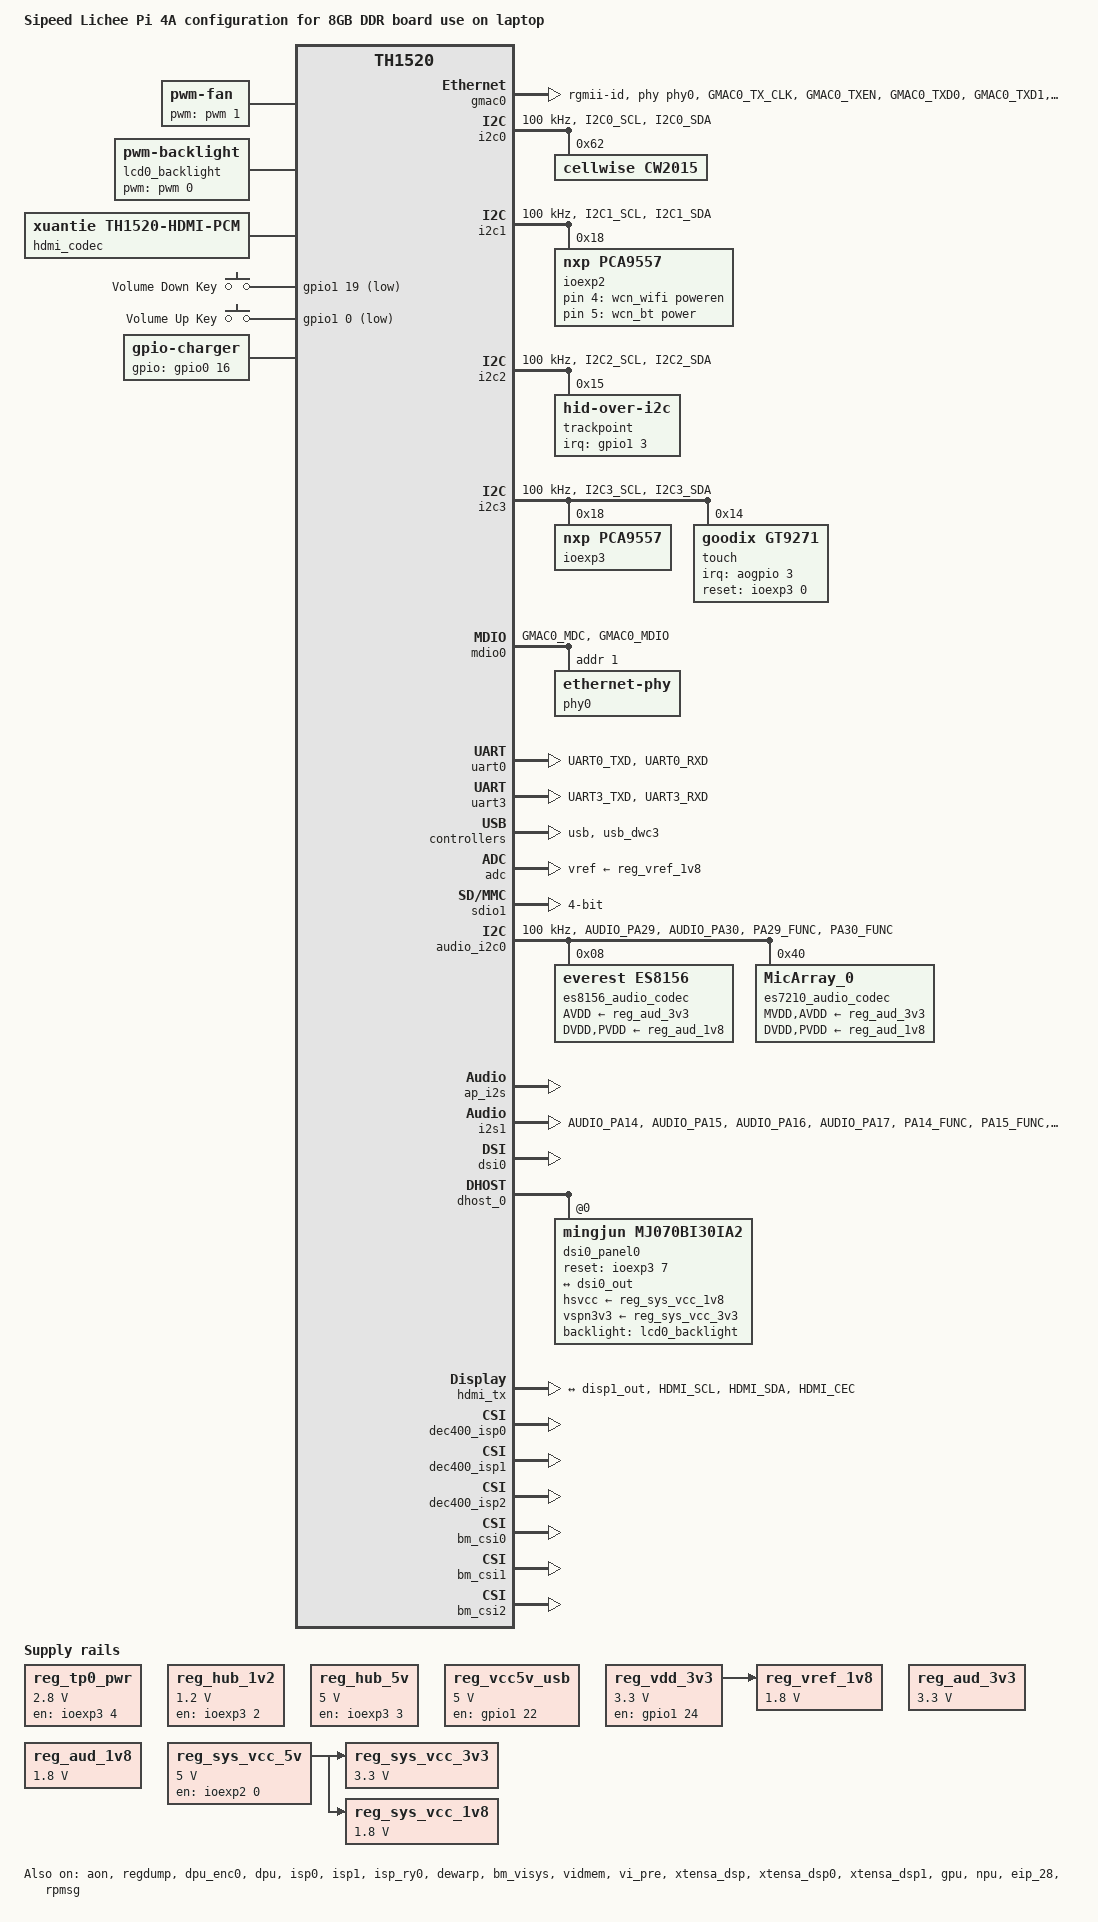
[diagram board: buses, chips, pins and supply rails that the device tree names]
/* SPDX-License-Identifier: (GPL-2.0 OR MIT) */

/dts-v1/;

#include "th1520-lichee-module-4a.dtsi"
#include <dt-bindings/input/linux-event-codes.h>
#include <dt-bindings/gpio/gpio.h>
#include <dt-bindings/interrupt-controller/irq.h>

/ {
	model = "Sipeed Lichee Pi 4A configuration for 8GB DDR board use on laptop";
	compatible = "sipeed,lichee-pi-4a", "sipeed,lichee-module-4a", "thead,th1520";

	chosen {
		stdout-path = "serial0:115200n8";
	};

	fan: pwm-fan {
		pinctrl-names = "default";
		pinctrl-0 = <&fan_pins>;
		compatible = "pwm-fan";
		#cooling-cells = <2>;
		pwms = <&pwm 1 10000000 0>;
		// cooling-levels = <0 66 196 255>;
		cooling-levels = <255 255 255 255>;
	};

	lcd0_backlight: pwm-backlight@0 {
		compatible = "pwm-backlight";
		pwms = <&pwm 0 50000 0>;
		brightness-levels = <0 1 2 3 4 5 6 7 8 9 10 11 12 13 14 15 16 17 18 19 20 21 22 23 24 25 26 27 28 29 30 31 32 33 34 35
        	36 37 38 39 40 41 42 43 44 45 46 47 48 49 50 51 52 53 54 55 56 57 58 59 60 61 62 63 64 65 66 67 68 69 70 71 72 73 74 75
        	76 77 78 79 80 81 82 83 84 85 86 87 88 89 90 91 92 93 94 95 96 97 98 99 100>;
		default-brightness-level = <50>;
	};

	th1520_iopmp: iopmp {
		compatible = "xuantie,th1520-iopmp";

		/* config#1: multiple valid regions */
		iopmp_emmc: IOPMP_EMMC {
			attr = <0xFFFFFFFF>;
			is_default_region;
		};

		/* config#2: iopmp bypass */
		iopmp_sdio0: IOPMP_SDIO0 {
			bypass_en;
		};

		/* config#3: iopmp default region set */
		iopmp_sdio1: IOPMP_SDIO1 {
			attr = <0xFFFFFFFF>;
			is_default_region;
		};

		iopmp_usb0: IOPMP_USB0 {
			attr = <0xFFFFFFFF>;
			is_default_region;
		};

		iopmp_ao: IOPMP_AO {
			is_default_region;
		};

		iopmp_aud: IOPMP_AUD {
			is_default_region;
		};

		iopmp_chip_dbg: IOPMP_CHIP_DBG {
			is_default_region;
		};

		iopmp_eip120i: IOPMP_EIP120I {
			is_default_region;
		};

		iopmp_eip120ii: IOPMP_EIP120II {
			is_default_region;
		};

		iopmp_eip120iii: IOPMP_EIP120III {
			is_default_region;
		};

		iopmp_isp0: IOPMP_ISP0 {
			is_default_region;
		};

		iopmp_isp1: IOPMP_ISP1 {
			is_default_region;
		};

		iopmp_dw200: IOPMP_DW200 {
			is_default_region;
		};

		iopmp_vipre: IOPMP_VIPRE {
			is_default_region;
		};

		iopmp_venc: IOPMP_VENC {
			is_default_region;
		};

		iopmp_vdec: IOPMP_VDEC {
			is_default_region;
		};

		iopmp_g2d: IOPMP_G2D {
			is_default_region;
		};

		iopmp_fce: IOPMP_FCE {
			is_default_region;
		};

		iopmp_npu: IOPMP_NPU {
			is_default_region;
		};

		iopmp0_dpu: IOPMP0_DPU {
			bypass_en;
		};

		iopmp1_dpu: IOPMP1_DPU {
			bypass_en;
		};

		iopmp_gpu: IOPMP_GPU {
			is_default_region;
		};

		iopmp_gmac1: IOPMP_GMAC1 {
			is_default_region;
		};

		iopmp_gmac2: IOPMP_GMAC2 {
			is_default_region;
		};

		iopmp_dmac: IOPMP_DMAC {
			is_default_region;
		};

		iopmp_tee_dmac: IOPMP_TEE_DMAC {
			is_default_region;
		};

		iopmp_dsp0: IOPMP_DSP0 {
			is_default_region;
		};

		iopmp_dsp1: IOPMP_DSP1 {
			is_default_region;
		};

		iopmp_audio0: IOPMP_AUDIO0 {
			is_default_region;
		};

		iopmp_audio1: IOPMP_AUDIO1 {
			is_default_region;
		};
	};

	reg_tp0_pwr: regulator-tp0-pwr {
		compatible = "regulator-fixed";
		regulator-name = "tp0-pwr";
		regulator-min-microvolt = <2800000>;
		regulator-max-microvolt = <2800000>;
		gpio = <&ioexp3 4 GPIO_ACTIVE_HIGH>;
		enable-active-high;
		regulator-always-on;
	};

	reg_hub_1v2: regulator-hub-1v2 {
		compatible = "regulator-fixed";
		regulator-name = "HUB_1V2";
		regulator-min-microvolt = <1200000>;
		regulator-max-microvolt = <1200000>;
		gpio = <&ioexp3 2 GPIO_ACTIVE_HIGH>;
		enable-active-high;
		regulator-always-on;
	};

	reg_hub_5v: regulator-hub-5v {
		compatible = "regulator-fixed";
		regulator-name = "HUB_5V";
		regulator-min-microvolt = <5000000>;
		regulator-max-microvolt = <5000000>;
		gpio = <&ioexp3 3 GPIO_ACTIVE_HIGH>;
		enable-active-high;
		regulator-always-on;
	};

	reg_vcc5v_usb: regulator-vcc5v-usb {
		compatible = "regulator-fixed";
		regulator-name = "VCC5V_USB";
		regulator-min-microvolt = <5000000>;
		regulator-max-microvolt = <5000000>;
		gpio = <&gpio1 22 GPIO_ACTIVE_HIGH>;
		enable-active-high;
		regulator-always-on;
	};

	// reg_vdd33_lcd0: regulator-vdd33-lcd0 {
	// 	compatible = "regulator-fixed";
	// 	regulator-name = "lcd0_vdd33";
	// 	regulator-min-microvolt = <3300000>;
	// 	regulator-max-microvolt = <3300000>;
	// 	gpio = <&ioexp3 5 GPIO_ACTIVE_HIGH>;
	// 	enable-active-high;
	// };

	// reg_vdd18_lcd0: regulator-vdd18-lcd0 {
	// 	compatible = "regulator-fixed";
	// 	regulator-name = "lcd0_vdd18";
	// 	regulator-min-microvolt = <1800000>;
	// 	regulator-max-microvolt = <1800000>;
	// 	gpio = <&ioexp3 6 GPIO_ACTIVE_HIGH>;
	// 	enable-active-high;
	// };

	reg_vdd_3v3: regulator-vdd-3v3 {
		compatible = "regulator-fixed";
		regulator-name = "vdd_3v3";
		regulator-min-microvolt = <3300000>;
		regulator-max-microvolt = <3300000>;
		gpio = <&gpio1 24 GPIO_ACTIVE_HIGH>;
		enable-active-high;
		regulator-boot-on;
		regulator-always-on;
	};

	reg_vref_1v8: regulator-adc-verf {
		compatible = "regulator-fixed";
		regulator-name = "vref-1v8";
		regulator-min-microvolt = <1800000>;
		regulator-max-microvolt = <1800000>;
		regulator-alaways-on;
		vin-supply = <&reg_vdd_3v3>;
	};

	reg_aud_3v3: regulator-aud-3v3 {
		compatible = "regulator-fixed";
		regulator-name = "aud_3v3";
		regulator-min-microvolt = <3300000>;
		regulator-max-microvolt = <3300000>;
		enable-active-high;
		regulator-always-on;
	};

	reg_aud_1v8: regulator-aud-1v8 {
		compatible = "regulator-fixed";
		regulator-name = "aud_1v8";
		regulator-min-microvolt = <1800000>;
		regulator-max-microvolt = <1800000>;
		enable-active-high;
		regulator-always-on;
	};

	// ===================

	reg_sys_vcc_5v: regulator-sys-vcc-5v-en {
		// status = "okay";
		compatible = "regulator-fixed";
		regulator-name = "regulator-sys-vcc-5v-en";
		regulator-min-microvolt = <5000000>;
		regulator-max-microvolt = <5000000>;
		gpio = <&ioexp2 0 GPIO_ACTIVE_HIGH>;
		enable-active-high;
		regulator-boot-on;
		regulator-always-on;

		regulator-state-mem {
			regulator-off-in-suspend;
		};
		regulator-state-standby {
			regulator-off-in-suspend;
		};
	};

	reg_sys_vcc_3v3: regulator-sys-vcc-3v3-en {
		status = "okay";
		compatible = "regulator-fixed";
		regulator-name = "regulator-sys-vcc-3v3-en";
		vin-supply = <&reg_sys_vcc_5v>;
		regulator-min-microvolt = <3300000>;
		regulator-max-microvolt = <3300000>;
		enable-active-high;
		regulator-boot-on;
		regulator-always-on;
	};

	reg_sys_vcc_1v8: regulator-sys-vcc-1v8-en {
		status = "okay";
		compatible = "regulator-fixed";
		regulator-name = "regulator-sys-vcc-1v8-en";
		vin-supply = <&reg_sys_vcc_5v>;
		regulator-min-microvolt = <1800000>;
		regulator-max-microvolt = <1800000>;
		enable-active-high;
		regulator-boot-on;
		regulator-always-on;
	};

	// reg_usb_vcc_5v: regulator-usb-vcc-5v-en {
	// 	status = "okay";
	// 	compatible = "regulator-fixed";
	// 	regulator-name = "regulator-usb-vcc-5v-en";
	// 	regulator-min-microvolt = <5000000>;
	// 	regulator-max-microvolt = <5000000>;
	// 	vin-supply = <&reg_sys_vcc_5v>;
	// 	gpio = <&ioexp3 3 1>;
	// 	enable-active-high;
	// 	regulator-always-on;
    //     };

	// reg_sata_vcc_5v: regulator-sata-vcc-5v-en {
	// 	status = "okay";
	// 	compatible = "regulator-fixed";
	// 	regulator-name = "regulator-sata-vcc-5v-en";
	// 	regulator-min-microvolt = <5000000>;
	// 	regulator-max-microvolt = <5000000>;
	// 	vin-supply = <&reg_sys_vcc_5v>;
	// 	gpio = <&ioexp3 3 1>;
	// 	enable-active-high;
	// 	regulator-always-on;
	// };

	// audio_amp: regulator-audio-amp-en {
    //     status = "okay";
    //     compatible = "regulator-fixed";
    //     regulator-name = "regulator-audio-amp-en";
    //     vin-supply = <&reg_sys_vcc_5v>;
	// 	gpio = <&ioexp2 3 GPIO_ACTIVE_HIGH>;
	// 	enable-active-high;
	// 	regulator-always-on;
	// };

	// ===================
	mbox_910t_client2: mbox_910t_client2 {
		compatible = "xuantie,th1520-mbox-client";
		mbox-names = "906";
		mboxes = <&mbox_910t 2 0>;
		audio-mbox-regmap = <&audio_mbox>;
		status = "okay";
	};

	th1520_rpmsg: th1520_rpmsg {
		compatible = "th1520,rpmsg-bus", "simple-bus";
		memory-region = <&rpmsgmem>;
		#address-cells = <2>;
		#size-cells = <2>;
		ranges;
		rpmsg: rpmsg{
			vdev-nums = <1>;
            reg = <0x0 0x1E000000 0 0x10000>;
			compatible = "th1520,th1520-rpmsg";
			log-memory-region = <&audio_log_mem>;
			audio-text-memory-region = <&audio_text_mem>;
			status = "okay";
		};
	};

	hdmi_codec: hdmi_codec@1 {
		#sound-dai-cells = <0>;
		compatible = "xuantie,th1520-hdmi-pcm";
		status = "okay";
		sound-name-prefix = "DUMMY";
	};

	th1520_sound: soundcard@1 {
		compatible = "simple-audio-card";
		simple-audio-card,name = "TH1520-Sound-Card";
		#address-cells = <1>;
		#size-cells = <0>;

		simple-audio-card,dai-link@0 {
			reg = <0>;
			format = "i2s";
			cpu {
				sound-dai = <&ap_i2s 1>;
			};
			codec {
				sound-dai = <&hdmi_codec>;
			};
		};
		simple-audio-card,dai-link@1 {
			reg = <1>;
			format = "i2s";
			cpu {
				sound-dai = <&i2s1 0>;
			};
			codec {
				sound-dai = <&es7210_audio_codec>;
			};
		};
		simple-audio-card,dai-link@2 {
			reg = <2>;
			format = "i2s";
			cpu {
				sound-dai = <&i2s1 0>;
			};
			codec {
				sound-dai = <&es8156_audio_codec>;
			};
		};
	};

	wcn_wifi: wireless-wlan {
		compatible = "wlan-platdata";
		pinctrl-names = "default";
		pinctrl-0 = <&pinctrl_wifi_wake>;
		WIFI,poweren-gpios = <&ioexp2 4 0>;
		power_on_after_init;
		power_on_when_resume;
		status = "okay";
	};

	wcn_bt: wireless-bluetooth {
		compatible = "bluetooth-platdata";
		pinctrl-names = "default";
		pinctrl-0 = <&pinctrl_bt_wake>;
		BT,power-gpios    = <&ioexp2 5 0>;
		status = "okay";
	};

	gpio-keys {
		compatible = "gpio-keys";
		key-volumedown {
			label = "Volume Down Key";
			linux,code = <KEY_VOLUMEDOWN>;
			debounce-interval = <1>;
			gpios = <&gpio1 19 GPIO_ACTIVE_LOW>;
		};
		key-volumeup {
			label = "Volume Up Key";
			linux,code = <KEY_VOLUMEUP>;
			debounce-interval = <1>;
			gpios = <&gpio1 0 GPIO_ACTIVE_LOW>;
		};
		// key-sleep {
		// 	label = "Sleep Wake Key";
		// 	wakeup-source;
		// 	linux,code = <KEY_SLEEP>;
		// 	debounce-interval = <1>;
		// 	gpios = <&aogpio 2 GPIO_ACTIVE_LOW>;
		// };
	};

	thermal-zones {
		cpu-thermal {
			sustainable-power = <1600>;

			trips {
				trip_active0: active-0 {
					temperature = <39000>;
					hysteresis = <5000>;
					type = "active";
				};

				trip_active1: active-1 {
					temperature = <50000>;
					hysteresis = <5000>;
					type = "active";
				};

				trip_active2: active-2 {
					temperature = <60000>;
					hysteresis = <5000>;
					type = "active";
				};
			};

			cooling-maps {
				map-active-0 {
					cooling-device = <&fan 1 1>;
					trip = <&trip_active0>;
				};

				map-active-1 {
					cooling-device = <&fan 2 2>;
					trip = <&trip_active1>;
				};

				map-active-2 {
					cooling-device = <&fan 3 3>;
					trip = <&trip_active2>;
				};
			};
		};

		dev-thermal {
			sustainable-power = <3000>;
		};
	};

	soc {
		compatible = "simple-bus";
		interrupt-parent = <&plic>;
		#address-cells = <2>;
		#size-cells = <2>;
		dma-noncoherent;
		ranges;

	};

	charger: dc-charger {
		compatible = "gpio-charger";
		charger-type = "mains";
		// gpios = <&aogpio 2 GPIO_ACTIVE_HIGH>;
		gpios = <&gpio0 16 GPIO_ACTIVE_HIGH>;
	};
};

&gmac0 {
	pinctrl-names = "default";
	pinctrl-0 = <&gmac0_pins>;
	phy-handle = <&phy0>;
	phy-mode = "rgmii-id";
	status = "okay";
};

&gmac1 {
	status = "disabled";
};

&i2c0 { // i2c@ffe7f20000
	pinctrl-names = "default";
	pinctrl-0 = <&i2c0_pins>;
	clock-frequency = <100000>;
	i2c-sda-hold-time-ns = <300>;
	i2c-sda-falling-time-ns = <510>;
	i2c-scl-falling-time-ns = <510>;
	status = "okay";

	cw2015: cw2015@62 {
		compatible = "cellwise,cw2015";
		reg = <0x62>;
		cellwise,monitor-interval-ms = <5000>;
		cellwise,battery-profile = /bits/ 8 <
			0x17 0x67 0x72 0x68 0x66 0x63 0x62 0x5A
			0x64 0x61 0x4D 0x57 0x5A 0x51 0x43 0x38
			0x31 0x2A 0x24 0x22 0x29 0x31 0x3E 0x4C
			0x29 0x4D 0x0B 0x85 0x1C 0x38 0x47 0x57
			0x5D 0x5E 0x5F 0x60 0x3F 0x1A 0x6F 0x41
			0x0A 0x43 0x12 0x38 0x7B 0x95 0x9A 0x18
			0x4B 0x6F 0x9E 0xD5 0x80 0x57 0x87 0xCB
			0x2F 0x00 0x64 0xA5 0xB5 0x13 0x54 0xB9
		>;
		power-supplies = <&charger>;
	};
};

&i2c1 { // i2c@ffe7f24000
	pinctrl-names = "default";
	pinctrl-0 = <&i2c1_pins>;
	clock-frequency = <100000>;
	i2c-sda-hold-time-ns = <300>;
	i2c-sda-falling-time-ns = <510>;
	i2c-scl-falling-time-ns = <510>;
	status = "okay";

	ioexp2: gpio@18 {
		compatible = "nxp,pca9557";
		reg = <0x18>;
		gpio-controller;
		#gpio-cells = <2>;
		gpio-line-names = "",
				  "pwr_ctrl_run",
				  "pwr_ctrl_sata",
				  "tb_rst_1v8",
				  "wl_host_wake",
				  "bt_resetn",
				  "pwr_ctrl_ext",
				  "bt_host_wake";
	};
};

&i2c2 { // i2c@ffec00c000
	pinctrl-names = "default";
	pinctrl-0 = <&i2c2_pins>;
	clock-frequency = <100000>;
	i2c-sda-hold-time-ns = <300>;
	i2c-sda-falling-time-ns = <510>;
	i2c-scl-falling-time-ns = <510>;
	status = "okay";

	trackpoint: trackpad@15 {
		compatible = "hid-over-i2c";
		reg = <0x15>;
		hid-descr-addr = <0x0020>;
		interrupt-parent = <&gpio1>;
		interrupts = <3 IRQ_TYPE_LEVEL_LOW>;
	};
};

&i2c3 { // i2c@ffec014000
	pinctrl-names = "default";
	pinctrl-0 = <&i2c3_pins>;
	clock-frequency = <100000>;
	i2c-sda-hold-time-ns = <300>;
	i2c-sda-falling-time-ns = <510>;
	i2c-scl-falling-time-ns = <510>;
	status = "okay";

	ioexp3: gpio@18 {
		compatible = "nxp,pca9557";
		reg = <0x18>;
		gpio-controller;
		#gpio-cells = <2>;
		gpio-line-names = "tp0_rst",
				  "",
				  "",
				  "vcc5v_usb",
				  "",
				  "",
				  "edp_blen",
				  "lcd0_reset";
	};

	touch@14 {
		#gpio-cells = <2>;
		compatible = "goodix,gt9271";
		reg = <0x14>;
		interrupt-parent = <&aogpio>;
		interrupts = <3 0>;
		irq-gpios = <&aogpio 3 0>;
		reset-gpios = <&ioexp3 0 0>;
		// read xmax & ymax from touch screen chip, thank ice
		//touchscreen-size-x = <1024>;
		//touchscreen-size-y = <600>;
		//tp-size = <9271>;
		status = "okay";
	};

	// lt8911: lt8911@29 {
	// 	compatible = "lontium,lt8911exb";
	// 	reg = <0x29>;
	// 	lontium,pclk = <136000000>;
	// 	lontium,hact = <2160>;
	// 	lontium,vact = <1440>;
	// 	lontium,hbp = <80>;
	// 	lontium,hfp = <48>;
	// 	lontium,vbp = <14>;
	// 	lontium,vfp = <3>;
	// 	lontium,hs = <32>;
	// 	lontium,vs = <10>;
	// 	lontium,mipi_lane = <2>;
	// 	lontium,lane_cnt = <2>;
	// 	lontium,color = <1>; //Color Depth 0:6bit 1:8bit
	// 	lontium,test = <0>;
	// };
};

&mdio0 {
	pinctrl-names = "default";
	pinctrl-0 = <&mdio0_pins>;

	phy0: ethernet-phy@1 {
		reg = <1>;
	};
};

&padctrl0_apsys {
	fan_pins: fan-0 {
		pwm1-pins {
			pins = "GPIO3_3"; /* PWM1 */
			function = "pwm";
			bias-disable;
			drive-strength = <25>;
			input-disable;
			input-schmitt-disable;
			slew-rate = <0>;
		};
	};

	gmac0_pins: gmac0-0 {
		tx-pins {
			pins = "GMAC0_TX_CLK",
			       "GMAC0_TXEN",
			       "GMAC0_TXD0",
			       "GMAC0_TXD1",
			       "GMAC0_TXD2",
			       "GMAC0_TXD3";
			function = "gmac0";
			bias-disable;
			drive-strength = <25>;
			input-disable;
			input-schmitt-disable;
			slew-rate = <0>;
		};

		rx-pins {
			pins = "GMAC0_RX_CLK",
			       "GMAC0_RXDV",
			       "GMAC0_RXD0",
			       "GMAC0_RXD1",
			       "GMAC0_RXD2",
			       "GMAC0_RXD3";
			function = "gmac0";
			bias-disable;
			drive-strength = <1>;
			input-enable;
			input-schmitt-disable;
			slew-rate = <0>;
		};
	};

	i2c2_pins: i2c2-0 {
		i2c-pins {
			pins = "I2C2_SCL", "I2C2_SDA";
			function = "i2c";
			bias-disable;
			drive-strength = <7>;
			input-enable;
			input-schmitt-enable;
			slew-rate = <0>;
		};
	};

	i2c3_pins: i2c3-0 {
		i2c-pins {
			pins = "I2C3_SCL", "I2C3_SDA";
			function = "i2c";
			bias-disable;
			drive-strength = <7>;
			input-enable;
			input-schmitt-enable;
			slew-rate = <0>;
		};
	};

	mdio0_pins: mdio0-0 {
		mdc-pins {
			pins = "GMAC0_MDC";
			function = "gmac0";
			bias-disable;
			drive-strength = <13>;
			input-disable;
			input-schmitt-disable;
			slew-rate = <0>;
		};

		mdio-pins {
			pins = "GMAC0_MDIO";
			function = "gmac0";
			bias-disable;
			drive-strength = <13>;
			input-enable;
			input-schmitt-enable;
			slew-rate = <0>;
		};
	};

	uart0_pins: uart0-0 {
		tx-pins {
			pins = "UART0_TXD";
			function = "uart";
			bias-disable;
			drive-strength = <3>;
			input-disable;
			input-schmitt-disable;
			slew-rate = <0>;
		};

		rx-pins {
			pins = "UART0_RXD";
			function = "uart";
			bias-disable;
			drive-strength = <1>;
			input-enable;
			input-schmitt-enable;
			slew-rate = <0>;
		};
	};

	spi_pins: spi-0 {
		spi-pins {
			pins = "SPI_SCLK", "SPI_MOSI", "SPI_MISO";
			function = "spi";
			bias-disable;
			drive-strength = <7>;
			input-enable;
			input-schmitt-enable;
			slew-rate = <0>;
		};
	};

	hdmi_tx_pins: hdmi-tx-0 {
		hdmi-pins {
			pins = "HDMI_SCL", "HDMI_SDA", "HDMI_CEC";
			function = "hdmi";
			bias-disable;
			drive-strength = <3>;
			input-enable;
			input-schmitt-disable;
			slew-rate = <0>;
		};
	};
};

&padctrl1_apsys {
	i2c0_pins: i2c0-0 {
		i2c-pins {
			pins = "I2C0_SCL", "I2C0_SDA";
			function = "i2c";
			bias-disable;
			drive-strength = <7>;
			input-enable;
			input-schmitt-enable;
			slew-rate = <0>;
		};
	};

	i2c1_pins: i2c1-0 {
		i2c-pins {
			pins = "I2C1_SCL", "I2C1_SDA";
			function = "i2c";
			bias-disable;
			drive-strength = <7>;
			input-enable;
			input-schmitt-enable;
			slew-rate = <0>;
		};
	};

	qspi1_pins: qspi1-0 {
		qspi-pins {
			pins = "QSPI1_SCLK", "QSPI1_D0_MOSI", "QSPI1_D1_MISO";
			function = "qspi";
			bias-disable;
			drive-strength = <7>;
			input-enable;
			input-schmitt-enable;
			slew-rate = <0>;
		};
	};

	uart3_pins: uart3-0 {
		tx-pins {
			pins = "UART3_TXD";
			function = "uart";
			bias-disable;
			drive-strength = <3>;
			input-disable;
			input-schmitt-disable;
			slew-rate = <0>;
		};

		rx-pins {
			pins = "UART3_RXD";
			function = "gpio";
			bias-disable;
			drive-strength = <1>;
			input-enable;
			input-schmitt-enable;
			slew-rate = <0>;
		};
	};

	uart4_pins: uart4-0 {
		tx-pins {
			pins = "UART4_TXD";
			function = "uart";
			bias-disable;
			drive-strength = <3>;
			input-disable;
			input-schmitt-disable;
			slew-rate = <0>;
		};

		rx-pins {
			pins = "UART4_RXD";
			function = "uart";
			bias-disable;
			drive-strength = <1>;
			input-enable;
			input-schmitt-enable;
			slew-rate = <0>;
		};

		ctrl-pins {
			pins = "UART4_CTSN", "UART4_RTSN";
			function = "uart";
			bias-disable;
			drive-strength = <3>;
			input-enable;
			input-schmitt-disable;
			slew-rate = <0>;
		};
	};

	pinctrl_wifi_wake: wifi_grp {
		wifi-pins {
			pins = "GPIO0_27";
			function = "gpio";
			bias-disable;
			drive-strength = <7>;
			input-disable;
			input-schmitt-disable;
			slew-rate = <0>;
		};
	};

	pinctrl_bt_wake: bt_grp {
		bt-pins {
			pins = "GPIO0_28";
			function = "gpio";
			bias-disable;
			drive-strength = <7>;
			input-disable;
			input-schmitt-disable;
			slew-rate = <0>;
		};
	};
};

&padctrl_aosys {
	i2s1_pa_pins: i2s1-pa-0 {
		i2s-pa-pins {
			pins = "AUDIO_PA14", "AUDIO_PA15", "AUDIO_PA16", "AUDIO_PA17";
			function = "audio";
			bias-disable;
			drive-strength = <0>;
			slew-rate = <0>;
		};
	};
	aud_i2c0_pa_pins: aud-i2c0-pa-0 {
		aud-i2c-pa-pins {
			pins = "AUDIO_PA29", "AUDIO_PA30";
			function = "audio";
			bias-disable;
			drive-strength = <0>;
			slew-rate = <0>;
		};
	};
};

&padctrl_audiosys {
	aud_i2c0_pins: aud-i2c0-0 {
		i2c-pins {
			pins = "PA29_FUNC", "PA30_FUNC";
			function = "aud_i2c0";
			bias-disable;
			drive-strength = <7>;
			input-schmitt-disable;
			slew-rate = <0>;
		};
	};
	i2s1_pins: i2s1-0 {
		i2s-pins {
			pins = "PA14_FUNC", "PA15_FUNC", "PA16_FUNC", "PA17_FUNC";
			function = "aud_i2s1";
			bias-disable;
			drive-strength = <13>;
			input-schmitt-disable;
			slew-rate = <0>;
		};
	};
};

&uart0 {
	pinctrl-names = "default";
	pinctrl-0 = <&uart0_pins>;
	status = "okay";
};

&uart3 {
	pinctrl-names = "default";
	pinctrl-0 = <&uart3_pins>;
	clock-frequency = <100000000>;
	status = "okay";
};

// &uart4 {
// 	pinctrl-names = "default";
// 	pinctrl-0 = <&uart4_pins>;
// 	status = "okay";
// 	uart-has-rtscts;

// 	bluetooth {
// 		compatible = "realtek,rtl8723ds-bt";
// 		device-wake-gpios = <&gpio0 28 GPIO_ACTIVE_HIGH>; /* GPIO02 */
// 		host-wake-gpios = <&ioexp2 7 GPIO_ACTIVE_HIGH>;
// 		enable-gpios = <&ioexp2 5 GPIO_ACTIVE_HIGH>;
// 	};
// };

&usb {
	status = "okay";
	hubswitch-gpio = <&aogpio 4 0>;
};

&usb_dwc3 {
	status = "okay";
	#address-cells = <1>;
	#size-cells = <0>;
};

&adc {
	vref-supply = <&reg_vref_1v8>;
	#io-channel-cells = <1>;
	status = "okay";
};

// &spi {
// 	num-cs = <1>;
// 	cs-gpios = <&gpio2 15 0>;
// 	rx-sample-delay-ns = <10>;
// 	pinctrl-names = "default";
// 	pinctrl-0 = <&spi_pins>;
// 	status = "okay";

// 	spi_norflash@0 {
// 		status = "okay";
// 		#address-cells = <1>;
// 		#size-cells = <1>;
// 		compatible = "winbond,w25q64jwm", "jedec,spi-nor";
// 		reg = <0>;
// 		spi-max-frequency = <50000000>;
// 		w25q,fast-read;
// 	};
// };

&qspi0 {
	status = "disabled";
};

&qspi1 {
	status = "disabled";
};

// &sdio0 {
// 	max-frequency = <35000000>;
// 	status = "okay";
// };

&sdio1 {
	max-frequency = <100000000>;
	bus-width = <4>;
	pull_up;
	no-sd;
	no-mmc;
	broken-cd;
	io_fixed_1v8;
	post-power-on-delay-ms = <50>;
	wprtn_ignore;
	cap-sd-highspeed;
	wakeup-source;
	keep-power-in-suspend;
	status = "okay";
};

&aon {
    log-memory-region = <&aon_log_mem>;
	status = "okay";
};

&resmem {
	#address-cells = <2>;
	#size-cells = <2>;
	ranges;

	/* global autoconfigured region for contiguous allocations */
	cmamem: linux,cma {
		compatible = "shared-dma-pool";
		reusable;
		size = <0 0x30000000>; // 768MB on lpi4a (SOM)
		alloc-ranges = <0 0xc8000000 0 0x30000000>; // [0x0C800_0000 ~ 0x0F800_0000]    linux,cma-default;
		linux,cma-default;
	};
	dsp0_mem: memory@20000000 {             /**0x2000_0000~0x2040_0000 4M**/
		reg = <0x0 0x20000000 0x0 0x00280000   /* DSP FW code&data section 2.5M*/
			0x0 0x20280000 0x0 0x00001000   /* DSP communication area 4K*/
			0x0 0x20281000 0x0 0x00007000  /* Panic/log page 28K */
			0x0 0x20288000 0x0 0x00178000>;  /* DSP shared memory 1.5M-32K*/
		};
	dsp1_mem: memory@20400000 {             /**0x2040_0000~0x2080_0000 4M**/
		reg = <0x0 0x20400000 0x0 0x00280000  /* DSP FW code&data section */
			0x0 0x20680000 0x0 0x00001000 /* DSP communication area */
			0x0 0x20681000 0x0 0x00007000    /* Panic/log page*/
			0x0 0x20688000 0x0 0x00178000>;  /* DSP shared memory */
		};
	vi_mem: framebuffer@10000000 {
		reg = <0x0 0x10000000 0x0 0x6700000>;	/* vi_mem_pool_region[0]  44 MB (default) */
			//0x0 0x12C00000 0x0 0x01D00000	/* vi_mem_pool_region[1]  29 MB */
			//0x0 0x14900000 0x0 0x01E00000>;	/* vi_mem_pool_region[2]  30 MB */
		};

	audio_text_mem: memory@32000000 {
		reg = <0x0 0x32000000 0x0 0xE00000>;
		//no-map;
	};
	audio_data_mem: memory@32E00000 {
		reg = <0x0 0x32E00000 0x0 0x600000>;
		//no-map;
	};
	audio_log_mem: memory@33400000 {
        reg = <0x0 0x33400000 0x0 0x200000>;
	};
	//Note: with "no-map" reserv mem not saved in hibernation
	rpmsgmem: memory@1E000000 {
		reg = <0x0 0x1E000000 0x0 0x10000>;
	};
	aon_log_mem: memory@33600000 {
        reg = <0x0 0x33600000 0x0 0x200000>;
	};
	regdump_mem: memory@38400000 {
		reg = <0x0 0x38400000 0x0 0x1400000>;
		no-map;
	};
};

&regdump {
	memory-region = <&regdump_mem>;
	status = "okay";
};

&audio_i2c0 {
	clock-frequency = <100000>;
	status = "okay";
	pinctrl-names = "default";
	pinctrl-0 = <&aud_i2c0_pa_pins>,
				<&aud_i2c0_pins>;

	es8156_audio_codec: es8156@8 {
		#sound-dai-cells = <0>;
		compatible = "everest,es8156";
		reg = <0x08>;
		sound-name-prefix = "ES8156";
		AVDD-supply = <&reg_aud_3v3>;
		DVDD-supply = <&reg_aud_1v8>;
		PVDD-supply = <&reg_aud_1v8>;
	};

	es7210_audio_codec: es7210@40 {
		#sound-dai-cells = <0>;
		compatible = "MicArray_0";
		reg = <0x40>;
		sound-name-prefix = "ES7210";
		MVDD-supply = <&reg_aud_3v3>;
		AVDD-supply = <&reg_aud_3v3>;
		DVDD-supply = <&reg_aud_1v8>;
		PVDD-supply = <&reg_aud_1v8>;
	};
};

&ap_i2s {
	status = "okay";
};

&i2s1 {
	status = "okay";
	pinctrl-names = "default";
	pinctrl-0 = <&i2s1_pa_pins>, <&i2s1_pins>;
};

&dpu_enc0 {
	status = "okay";

	ports {
		/* output */
		port@1 {
			reg = <1>;

			enc0_out: endpoint {
				remote-endpoint = <&dsi0_in>;
			};
		};
	};
};

&dpu_enc1 {
    ports {
        /delete-node/ port@0;
    };
};

&dpu {
    status = "okay";
};

&dsi0 {
    status = "okay";
};

&dhost_0 {
	ports {
		#address-cells = <1>;
		#size-cells = <0>;

		port@0 {
			reg = <0>;

			dsi0_in: endpoint {
				remote-endpoint = <&enc0_out>;
			};
		};

		port@1 {
			reg = <1>;

			dsi0_out: endpoint {
				remote-endpoint = <&panel0_in>;
			};
		};
	};

    dsi0_panel0: panel0@0 {
	    // compatible = "chongzhou,cz101b4001", "jadard,jd9365da-h3";
		compatible = "mingjun,mj070bi30ia2";
	    reg = <0>;
		rotation = <90>;
	    backlight = <&lcd0_backlight>;
	    reset-gpios = <&ioexp3 7 0>; /* active low */
		hsvcc-supply = <&reg_sys_vcc_1v8>;
		vspn3v3-supply = <&reg_sys_vcc_3v3>;
	    // hsvcc-supply = <&reg_vdd18_lcd0>;  
	    // vspn3v3-supply = <&reg_vdd33_lcd0>;

        port {
            panel0_in: endpoint {
                remote-endpoint = <&dsi0_out>;
            };
        };
    };
};

&disp1_out {
	remote-endpoint = <&hdmi_tx_in>;
};

&hdmi_tx {
	status = "okay";
	pinctrl-names = "default";
	pinctrl-0 = <&hdmi_tx_pins>;

	port@0 {
		/* input */
		hdmi_tx_in: endpoint {
			remote-endpoint = <&disp1_out>;
		};
	};
};

&isp0 {
	status = "okay";
};

&isp1 {
	status = "okay";
};

&isp_ry0 {
	status = "okay";
};

&dewarp {
	status = "okay";
};

&dec400_isp0 {
	status = "okay";
};

&dec400_isp1 {
	status = "okay";
};

&dec400_isp2 {
	status = "okay";
};

&bm_visys {
	status = "okay";
};

&bm_csi0 {
	status = "okay";
};

&bm_csi1 {
	status = "okay";
};

&bm_csi2 {
	status = "okay";
};

&vidmem {
	status = "okay";
	memory-region = <&vi_mem>;
};

&vi_pre {
	status = "okay";
};
&xtensa_dsp {
	status = "okay";
};

&xtensa_dsp0 {
	status = "okay";
	memory-region = <&dsp0_mem>;
};

&xtensa_dsp1 {
	status = "okay";
	memory-region = <&dsp1_mem>;
};

&gpu {
	status = "okay";
};

&npu {
	vha_clk_rate = <1000000000>;
	status = "okay";
};

&npu_opp_table {
	opp-1000000000 {
		opp-suspend;
	};
};

&eip_28 {
	status = "okay";
};

&cpus {
	c910_0: cpu@0 {
		dvdd-supply = <&dvdd_cpu_reg>;
		dvddm-supply = <&dvddm_cpu_reg>;

		operating-points = <
			/* kHz    uV */
			300000  600000
			400000  700000
			500000  700000
			600000  700000
			702000  700000
			800000  700000
			900000  800000
			1000000 800000
			1104000 800000
			1200000 800000
			1296000 800000
			1404000 800000
			1500000 800000
		>;
		th1520,dvddm-operating-points = <
			/* kHz   uV */
			300000  800000
			400000  800000
			500000  800000
			600000  800000
			702000  800000
			800000  800000
			900000  800000
			1000000 800000
			1104000 800000
			1200000 800000
			1296000 800000
			1404000 800000
			1500000 800000
		>;
	};
	c910_1: cpu@1 {
		dvdd-supply = <&dvdd_cpu_reg>;
		dvddm-supply = <&dvddm_cpu_reg>;

		operating-points = <
			/* kHz    uV */
			300000  600000
			400000  700000
			500000  700000
			600000  700000
			702000  700000
			800000  700000
			900000  800000
			1000000 800000
			1104000 800000
			1200000 800000
			1296000 800000
			1404000 800000
			1500000 800000
		>;
		th1520,dvddm-operating-points = <
			/* kHz   uV */
			300000  800000
			400000  800000
			500000  800000
			600000  800000
			702000  800000
			800000  800000
			900000  800000
			1000000 800000
			1104000 800000
			1200000 800000
			1296000 800000
			1404000 800000
			1500000 800000
		>;
	};
	c910_2: cpu@2 {
		dvdd-supply = <&dvdd_cpu_reg>;
		dvddm-supply = <&dvddm_cpu_reg>;

		operating-points = <
			/* kHz    uV */
			300000  600000
			400000  700000
			500000  700000
			600000  700000
			702000  700000
			800000  700000
			900000  800000
			1000000 800000
			1104000 800000
			1200000 800000
			1296000 800000
			1404000 800000
			1500000 800000
		>;
		th1520,dvddm-operating-points = <
			/* kHz   uV */
			300000  800000
			400000  800000
			500000  800000
			600000  800000
			702000  800000
			800000  800000
			900000  800000
			1000000 800000
			1104000 800000
			1200000 800000
			1296000 800000
			1404000 800000
			1500000 800000
		>;
	};
	c910_3: cpu@3 {
		dvdd-supply = <&dvdd_cpu_reg>;
		dvddm-supply = <&dvddm_cpu_reg>;

		operating-points = <
			/* kHz    uV */
			300000  600000
			400000  700000
			500000  700000
			600000  700000
			702000  700000
			800000  700000
			900000  800000
			1000000 800000
			1104000 800000
			1200000 800000
			1296000 800000
			1404000 800000
			1500000 800000
		>;
		th1520,dvddm-operating-points = <
			/* kHz   uV */
			300000  800000
			400000  800000
			500000  800000
			600000  800000
			702000  800000
			800000  800000
			900000  800000
			1000000 800000
			1104000 800000
			1200000 800000
			1296000 800000
			1404000 800000
			1500000 800000
		>;
	};
};

// -------------------------------------

// &wcn_wifi {
// 	WIFI,poweren_gpio = <&ioexp2 4 0>;
// };

// &wcn_bt {
// 	BT,power_gpio = <&ioexp2 5 0>;
// };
